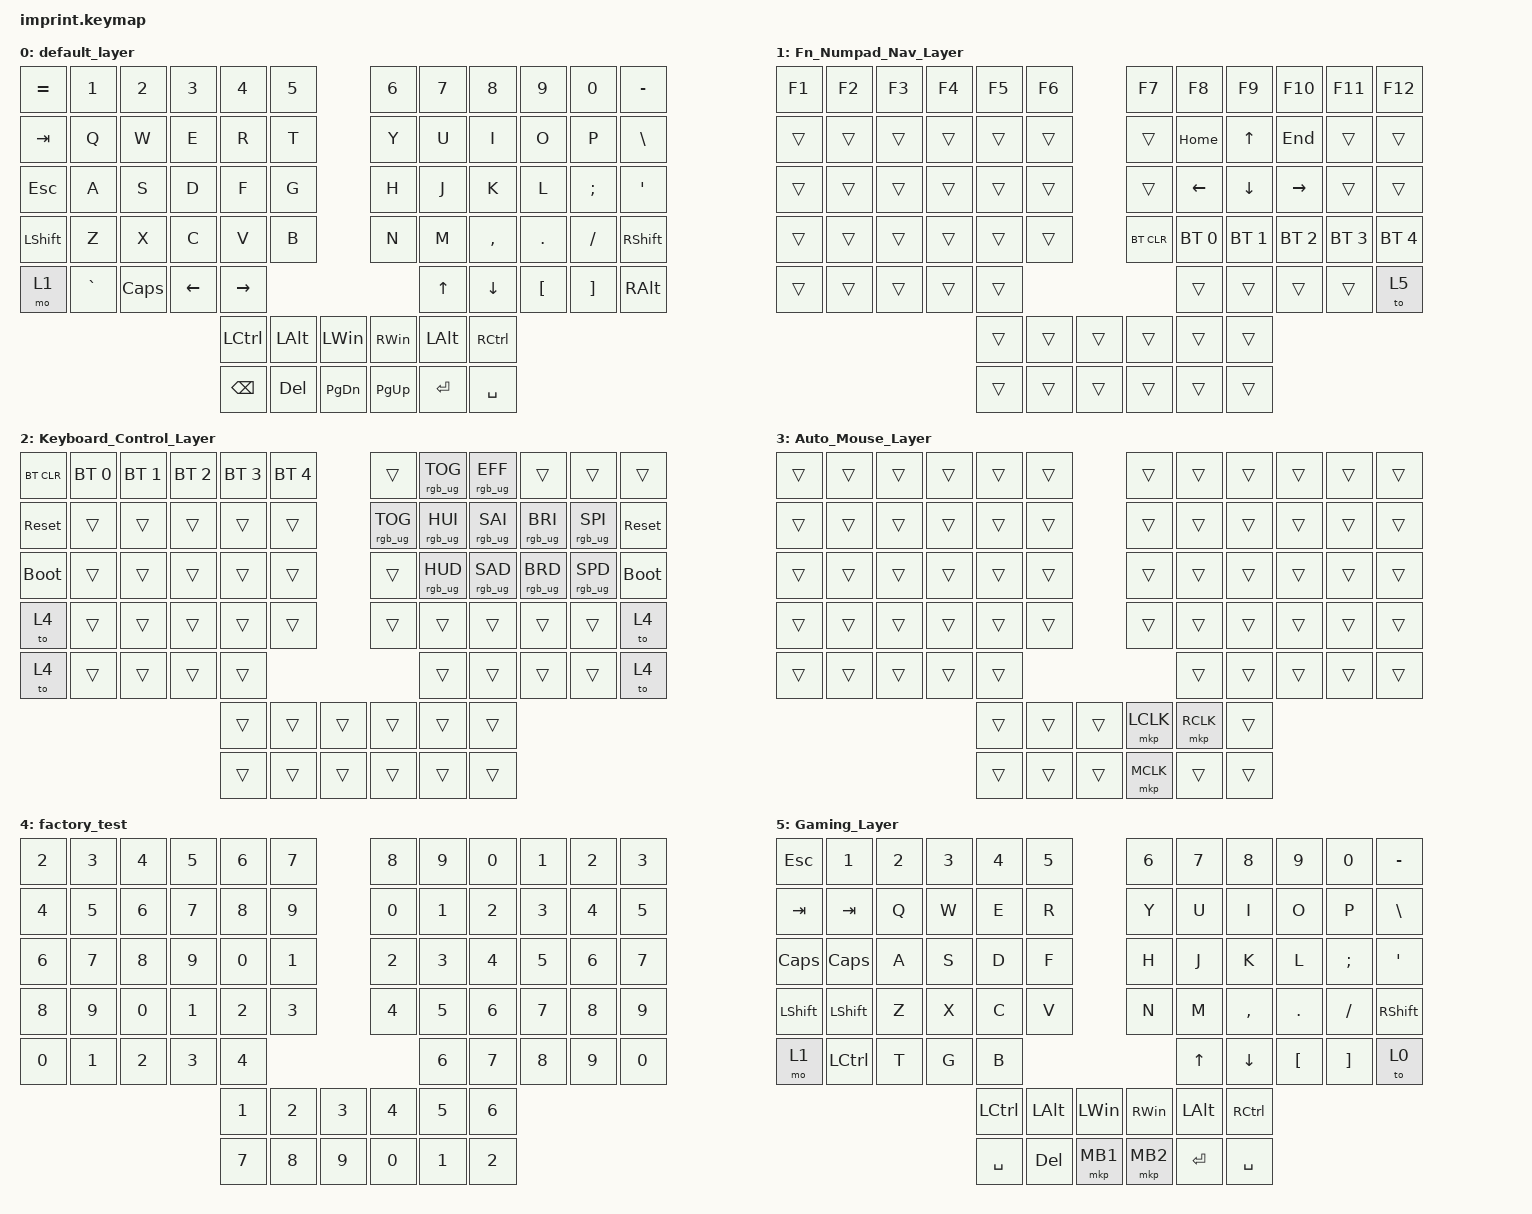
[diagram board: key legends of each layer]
#include <input/processors.dtsi>
#include <dt-bindings/zmk/input_transform.h>
#include <behaviors.dtsi>
#include <dt-bindings/zmk/bt.h>
#include <dt-bindings/zmk/keys.h>
#include <dt-bindings/zmk/pointing.h>
#include <dt-bindings/zmk/rgb.h>

/ {
    chosen { zmk,physical-layout = &physical_layout_imprint_number_row_full_bottom_row; };

    keymap {
        compatible = "zmk,keymap";

        default_layer {
            bindings = <
&kp EQUAL  &kp N1     &kp N2    &kp N3    &kp N4         &kp N5                     &kp N6       &kp N7    &kp N8     &kp N9    &kp N0             &kp MINUS
&kp TAB    &kp Q      &kp W     &kp E     &kp R          &kp T                      &kp Y        &kp U     &kp I      &kp O     &kp P              &kp BSLH
&kp ESC    &kp A      &kp S     &kp D     &kp F          &kp G                      &kp H        &kp J     &kp K      &kp L     &kp SEMI           &kp SQT
&kp LSHFT  &kp Z      &kp X     &kp C     &kp V          &kp B                      &kp N        &kp M     &kp COMMA  &kp DOT   &kp FSLH           &kp RSHFT
&mo 1      &kp GRAVE  &kp CAPS  &kp LEFT  &kp RIGHT                                              &kp UP    &kp DOWN   &kp LBKT  &kp RIGHT_BRACKET  &kp RIGHT_ALT
                                          &kp LCTRL      &kp LALT  &kp LWIN         &kp RWIN     &kp LALT  &kp RCTRL
                                          &kp BACKSPACE  &kp DEL   &kp PAGE_DOWN    &kp PAGE_UP  &kp RET   &kp SPACE
            >;
        };

        Fn_Numpad_Nav_Layer {
            bindings = <
&kp F1  &kp F2  &kp F3  &kp F4  &kp F5  &kp F6            &kp F7      &kp F8        &kp F9        &kp F10       &kp F11       &kp F12
&trans  &trans  &trans  &trans  &trans  &trans            &trans      &kp HOME      &kp UP        &kp END       &trans        &trans
&trans  &trans  &trans  &trans  &trans  &trans            &trans      &kp LEFT      &kp DOWN      &kp RIGHT     &trans        &trans
&trans  &trans  &trans  &trans  &trans  &trans            &bt BT_CLR  &bt BT_SEL 0  &bt BT_SEL 1  &bt BT_SEL 2  &bt BT_SEL 3  &bt BT_SEL 4
&trans  &trans  &trans  &trans  &trans                                &trans        &trans        &trans        &trans        &to 5
                                &trans  &trans  &trans    &trans      &trans        &trans
                                &trans  &trans  &trans    &trans      &trans        &trans
            >;
        };

        Keyboard_Control_Layer {
            bindings = <
&bt BT_CLR   &bt BT_SEL 0  &bt BT_SEL 1  &bt BT_SEL 2  &bt BT_SEL 3  &bt BT_SEL 4            &trans           &rgb_ug RGB_TOG  &rgb_ug RGB_EFF  &trans           &trans           &trans
&sys_reset   &trans        &trans        &trans        &trans        &trans                  &rgb_ug RGB_TOG  &rgb_ug RGB_HUI  &rgb_ug RGB_SAI  &rgb_ug RGB_BRI  &rgb_ug RGB_SPI  &sys_reset
&bootloader  &trans        &trans        &trans        &trans        &trans                  &trans           &rgb_ug RGB_HUD  &rgb_ug RGB_SAD  &rgb_ug RGB_BRD  &rgb_ug RGB_SPD  &bootloader
&to 4        &trans        &trans        &trans        &trans        &trans                  &trans           &trans           &trans           &trans           &trans           &to 4
&to 4        &trans        &trans        &trans        &trans                                                 &trans           &trans           &trans           &trans           &to 4
                                                       &trans        &trans        &trans    &trans           &trans           &trans
                                                       &trans        &trans        &trans    &trans           &trans           &trans
            >;
        };

        Auto_Mouse_Layer {
            bindings = <
&trans  &trans  &trans  &trans  &trans  &trans            &trans     &trans     &trans  &trans  &trans  &trans
&trans  &trans  &trans  &trans  &trans  &trans            &trans     &trans     &trans  &trans  &trans  &trans
&trans  &trans  &trans  &trans  &trans  &trans            &trans     &trans     &trans  &trans  &trans  &trans
&trans  &trans  &trans  &trans  &trans  &trans            &trans     &trans     &trans  &trans  &trans  &trans
&trans  &trans  &trans  &trans  &trans                               &trans     &trans  &trans  &trans  &trans
                                &trans  &trans  &trans    &mkp LCLK  &mkp RCLK  &trans
                                &trans  &trans  &trans    &mkp MCLK  &trans     &trans
            >;
        };

        factory_test {
            bindings = <
&kp N2  &kp N3  &kp N4  &kp N5  &kp N6  &kp N7            &kp N8  &kp N9  &kp N0  &kp N1  &kp N2  &kp N3
&kp N4  &kp N5  &kp N6  &kp N7  &kp N8  &kp N9            &kp N0  &kp N1  &kp N2  &kp N3  &kp N4  &kp N5
&kp N6  &kp N7  &kp N8  &kp N9  &kp N0  &kp N1            &kp N2  &kp N3  &kp N4  &kp N5  &kp N6  &kp N7
&kp N8  &kp N9  &kp N0  &kp N1  &kp N2  &kp N3            &kp N4  &kp N5  &kp N6  &kp N7  &kp N8  &kp N9
&kp N0  &kp N1  &kp N2  &kp N3  &kp N4                            &kp N6  &kp N7  &kp N8  &kp N9  &kp N0
                                &kp N1  &kp N2  &kp N3    &kp N4  &kp N5  &kp N6
                                &kp N7  &kp N8  &kp N9    &kp N0  &kp N1  &kp N2
            >;
        };

        Gaming_Layer {
            bindings = <
&kp ESC       &kp N1            &kp N2  &kp N3  &kp N4            &kp N5                &kp N6    &kp N7    &kp N8     &kp N9    &kp N0             &kp MINUS
&kp TAB       &kp TAB           &kp Q   &kp W   &kp E             &kp R                 &kp Y     &kp U     &kp I      &kp O     &kp P              &kp BSLH
&kp CAPSLOCK  &kp CAPSLOCK      &kp A   &kp S   &kp D             &kp F                 &kp H     &kp J     &kp K      &kp L     &kp SEMI           &kp SQT
&kp LSHFT     &kp LEFT_SHIFT    &kp Z   &kp X   &kp C             &kp V                 &kp N     &kp M     &kp COMMA  &kp DOT   &kp FSLH           &kp RSHFT
&mo 1         &kp LEFT_CONTROL  &kp T   &kp G   &kp B                                             &kp UP    &kp DOWN   &kp LBKT  &kp RIGHT_BRACKET  &to 0
                                                &kp LEFT_CONTROL  &kp LALT  &kp LWIN    &kp RWIN  &kp LALT  &kp RCTRL
                                                &kp SPACE         &kp DEL   &mkp MB1    &mkp MB2  &kp RET   &kp SPACE
            >;
        };
    };
};

// right hand trackball configuration

&trackball_peripheral_listener {
    input-processors =
        //     activate layer 3 within 2000ms of the trackball moving,
        <&zip_temp_layer 3 2000>;
};

// left hand trackball configuration

&trackball_central_listener {
    input-processors =
        // multiply sensitivity by 1, divide by 3 (make it slower for scrolling),,,,,,,
        <&zip_xy_scaler 1 3>,
        // make this trackball output scrolling events by default instead of cursor movement,,,,,,,
        <&zip_xy_to_scroll_mapper>,
        // invert vertical scrolling so that the view moves in the same direction as the top of the trackball.,,,,,,,
        <&zip_scroll_transform INPUT_TRANSFORM_Y_INVERT>;
};
